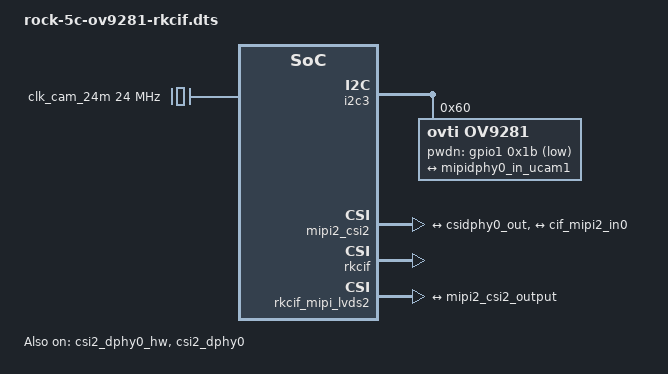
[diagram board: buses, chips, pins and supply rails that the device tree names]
// SPDX-License-Identifier: (GPL-2.0+ OR MIT)
//
// OV9281 (mono global-shutter, RAW10) on ROCK 5C — RKCIF-ONLY variant.
//
// WHY THIS EXISTS: the full overlay (rock-5c-ov9281.dts, copied from the OV5647
// reference) routes the sensor through BOTH the rkcif raw path AND the rkisp ISP
// path. On bind that triggers:
//   "subdev descriptor already listed in this or other notifiers"
//   "rockchip-csi2-dphy: probe of csi2-dphy0 failed with error -22"
// because two notifier chains (rkcif + rkisp) both try to claim the one sensor.
//
// A MONO sensor must NOT go through the ISP (the ISP debayers Bayer data — wrong
// for Y10). This overlay enables ONLY: sensor -> csi2_dphy0 -> mipi2_csi2 -> rkcif,
// and DROPS every rkisp fragment (sditf, isp0_mmu, rkisp0, rkisp0_vir0). That
// leaves a single notifier claiming the sensor, which should bind cleanly, and the
// capture node is the rkcif raw node /dev/video0 (stream_cif_mipi_id0) — exactly
// what we want for mono.
//
// Build / enable (disable the full overlay first so they don't both grab csi2_dphy0):
//   cd ~/quadguide && git pull
//   dtc -@ -I dts -O dtb -o /tmp/rock-5c-ov9281-rkcif.dtbo overlays/rock-5c-ov9281-rkcif.dts
//   sudo cp /tmp/rock-5c-ov9281-rkcif.dtbo /boot/dtbo/
//   # in /boot/uEnv.txt overlays= line: replace `rock-5c-ov9281` with `rock-5c-ov9281-rkcif`
//   sudo sed -i 's/rock-5c-ov9281\b/rock-5c-ov9281-rkcif/' /boot/uEnv.txt ; grep overlays /boot/uEnv.txt
//   sudo reboot
// WIN CONDITION:
//   media-ctl -d /dev/media0 -p | grep -i ov9281   # sensor is a bound ENTITY
//   sudo cat /sys/kernel/debug/v4l2-async/pending_async_subdevices | grep ov9281  # gone

/dts-v1/;
/plugin/;

/ {
	metadata {
		title = "Enable OV9281 mono camera, RKCIF-only (ROCK 5C)";
		compatible = "radxa,rock-5a", "radxa,rock-5c";
		category = "camera";
		exclusive = "csi2_dphy0";
		description = "OV9281 mono GS camera via rkcif raw path (no ISP).";
	};

	fragment@0 {
		target-path = "/";
		__overlay__ {
			clk_cam_24m: external-camera-clock-24m {
				status = "okay";
				compatible = "fixed-clock";
				clock-frequency = <24000000>;
				clock-output-names = "clk_cam_24m";
				#clock-cells = <0>;
			};
		};
	};

	fragment@1 {
		target = <&i2c3>;
		__overlay__ {
			status = "okay";
			#address-cells = <1>;
			#size-cells = <0>;

			ov9281: ov9281@60 {
				status = "okay";
				compatible = "ovti,ov9281";
				reg = <0x60>;
				clocks = <&clk_cam_24m>;
				clock-names = "xvclk";
				pwdn-gpios = <&gpio1 0x1b 1>;
				rockchip,camera-module-index = <0>;
				rockchip,camera-module-facing = "back";
				rockchip,camera-module-name = "ov9281";
				rockchip,camera-module-lens-name = "default";

				port {
					ov9281_out: endpoint {
						remote-endpoint = <&mipidphy0_in_ucam1>;
						data-lanes = <1 2>;
					};
				};
			};
		};
	};

	fragment@2 {
		target = <&csi2_dphy0_hw>;
		__overlay__ { status = "okay"; };
	};

	fragment@3 {
		target = <&csi2_dphy0>;
		__overlay__ {
			status = "okay";
			ports {
				#address-cells = <1>;
				#size-cells = <0>;
				port@0 {
					reg = <0>;
					#address-cells = <1>;
					#size-cells = <0>;
					mipidphy0_in_ucam1: endpoint@2 {
						reg = <2>;
						remote-endpoint = <&ov9281_out>;
						data-lanes = <1 2>;
					};
				};
				port@1 {
					reg = <1>;
					#address-cells = <1>;
					#size-cells = <0>;
					csidphy0_out: endpoint@0 {
						reg = <0>;
						remote-endpoint = <&mipi2_csi2_input>;
					};
				};
			};
		};
	};

	fragment@4 {
		target = <&mipi2_csi2>;
		__overlay__ {
			status = "okay";
			ports {
				#address-cells = <1>;
				#size-cells = <0>;
				port@0 {
					reg = <0>;
					#address-cells = <1>;
					#size-cells = <0>;
					mipi2_csi2_input: endpoint@1 {
						reg = <1>;
						remote-endpoint = <&csidphy0_out>;
					};
				};
				port@1 {
					reg = <1>;
					#address-cells = <1>;
					#size-cells = <0>;
					mipi2_csi2_output: endpoint@0 {
						reg = <0>;
						remote-endpoint = <&cif_mipi2_in0>;
					};
				};
			};
		};
	};

	fragment@5 {
		target = <&rkcif>;
		__overlay__ { status = "okay"; };
	};

	fragment@6 {
		target = <&rkcif_mipi_lvds2>;
		__overlay__ {
			status = "okay";
			port {
				cif_mipi2_in0: endpoint {
					remote-endpoint = <&mipi2_csi2_output>;
				};
			};
		};
	};

	fragment@7 {
		target = <&rkcif_mmu>;
		__overlay__ { status = "okay"; };
	};

	fragment@8 {
		target = <&pinctrl>;
		__overlay__ {
			camera {
				cam_pwdn_gpio: cam-pwdn-gpio {
					rockchip,pins = <1 0x1b 0 &pcfg_pull_up>;
				};
			};
		};
	};
};
